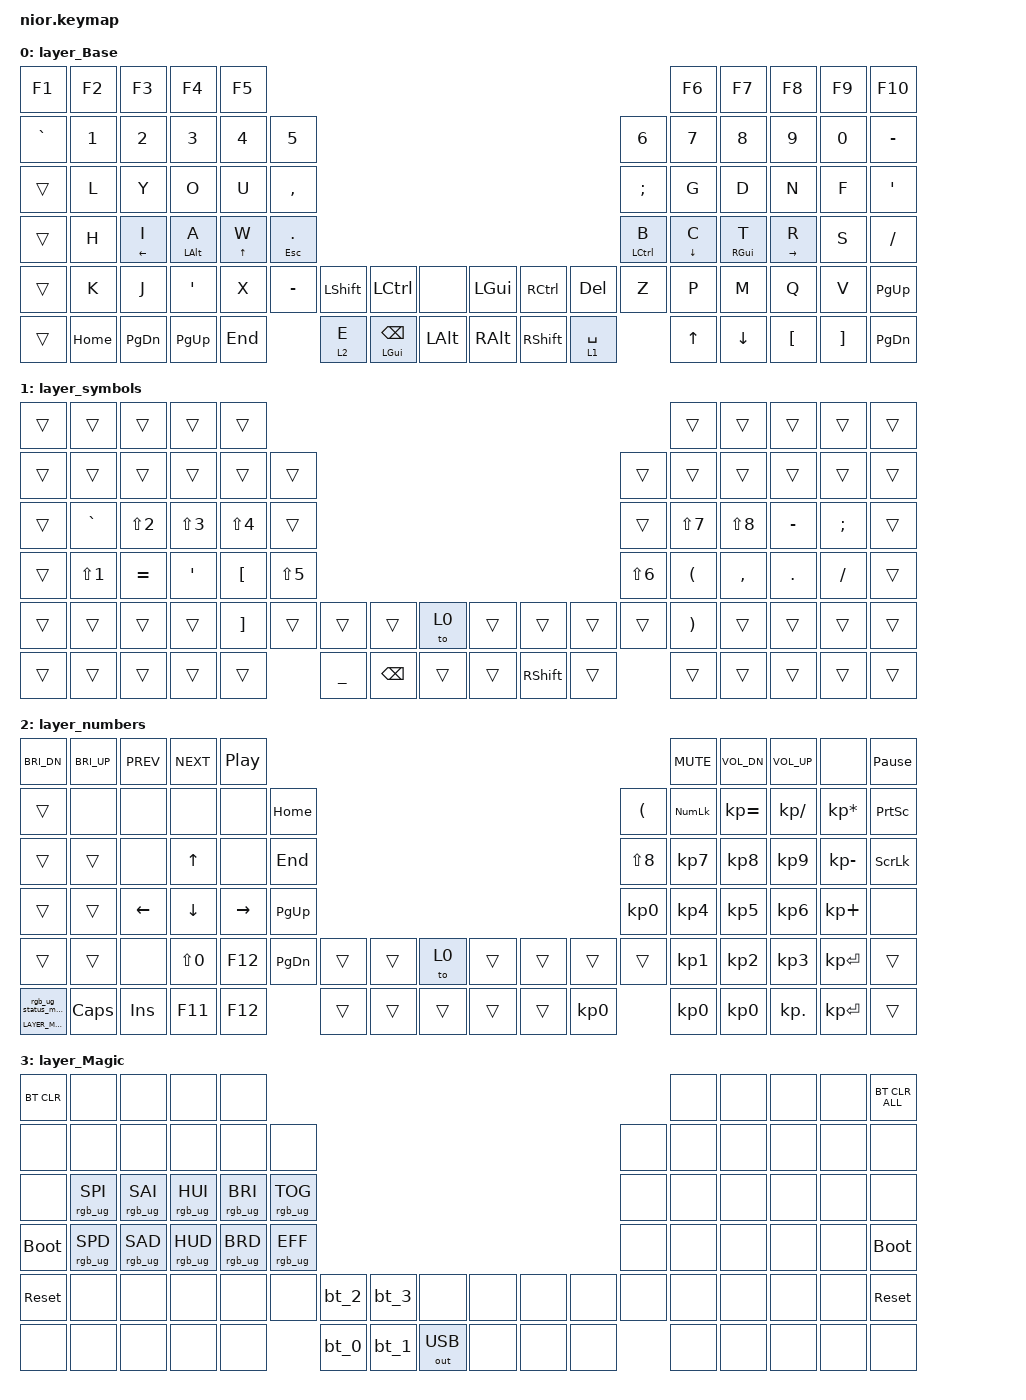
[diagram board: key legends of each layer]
/*
 * Copyright (c) 2020 The ZMK Contributors
 * Copyright (c) 2025 Innaworks Development Limited, trading as MoErgo
 *
 * SPDX-License-Identifier: MIT
 */
/* THIS FILE WAS GENERATED BY GLOVE80 LAYOUT EDITOR
 *
 * This file was generated automatically. You may or may not want to
 * edit it directly.
 */
/* Include all behavior includes needed */

#include <behaviors.dtsi>
#include <dt-bindings/zmk/bt.h>
#include <dt-bindings/zmk/keys.h>
#include <dt-bindings/zmk/outputs.h>
#include <dt-bindings/zmk/rgb.h>

/* On demand includes */
/* Automatically generated layer name #define */

#define LAYER_Base 0
#define LAYER_symbols 1
#define LAYER_numbers 2
#define LAYER_Magic 3

/* To deal with the situation where there is no Lower layer, to keep &lower happy */

#ifndef LAYER_Lower

#define LAYER_Lower 0

#endif

#define COMBO_TERM_FAST 18
#define COMBO_TERM_SLOW 30
#define COMBO_IDLE_FAST 150
#define COMBO_IDLE_SLOW 50
#define QUICK_TAP_MS 175

/* Custom Device-tree */
/* Urob's config */

&mt {
    flavor = "balanced";
    tapping-term-ms = <280>;
    quick-tap-ms = <175>;
    require-prior-idle-ms = <150>;
    bindings = <&kp>, <&kp>;

    hold-trigger-on-release;
};

&lt {
    flavor = "balanced";
    tapping-term-ms = <200>;
    quick-tap-ms = <QUICK_TAP_MS>;
};

&sk {
    release-after-ms = <900>;
    quick-release;
};

/* Input Listeners */
/* System behavior and Macros */

/ {
    behaviors {
        // For the "layer" key, it'd nice to be able to use it as either a shift or a toggle.
        // Configure it as a tap dance, so the first tap (or hold) is a &mo and the second tap is a &to

        lower: lower {
            compatible = "zmk,behavior-tap-dance";
            label = "LAYER_TAP_DANCE";
            #binding-cells = <0>;
            tapping-term-ms = <200>;
            bindings = <&mo LAYER_Lower>, <&to LAYER_Lower>;
        };
    };
};

/ {
    macros {
        rgb_ug_status_macro: rgb_ug_status_macro {
            label = "RGB_UG_STATUS";
            compatible = "zmk,behavior-macro";
            #binding-cells = <0>;
            bindings = <&rgb_ug RGB_STATUS>;
        };
    };
};

/ {
    #ifdef BT_DISC_CMD

    behaviors {
        bt_0: bt_0 {
            compatible = "zmk,behavior-tap-dance";
            label = "BT_0";
            #binding-cells = <0>;
            tapping-term-ms = <200>;
            bindings = <&bt_select_0>, <&bt BT_DISC 0>;
        };

        bt_1: bt_1 {
            compatible = "zmk,behavior-tap-dance";
            label = "BT_1";
            #binding-cells = <0>;
            tapping-term-ms = <200>;
            bindings = <&bt_select_1>, <&bt BT_DISC 1>;
        };

        bt_2: bt_2 {
            compatible = "zmk,behavior-tap-dance";
            label = "BT_2";
            #binding-cells = <0>;
            tapping-term-ms = <200>;
            bindings = <&bt_select_2>, <&bt BT_DISC 2>;
        };

        bt_3: bt_3 {
            compatible = "zmk,behavior-tap-dance";
            label = "BT_3";
            #binding-cells = <0>;
            tapping-term-ms = <200>;
            bindings = <&bt_select_3>, <&bt BT_DISC 3>;
        };
    };

    macros {
        bt_select_0: bt_select_0 {
            label = "BT_SELECT_0";
            compatible = "zmk,behavior-macro";
            #binding-cells = <0>;
            bindings = <&out OUT_BLE &bt BT_SEL 0>;
        };

        bt_select_1: bt_select_1 {
            label = "BT_SELECT_1";
            compatible = "zmk,behavior-macro";
            #binding-cells = <0>;
            bindings = <&out OUT_BLE &bt BT_SEL 1>;
        };

        bt_select_2: bt_select_2 {
            label = "BT_SELECT_2";
            compatible = "zmk,behavior-macro";
            #binding-cells = <0>;
            bindings = <&out OUT_BLE &bt BT_SEL 2>;
        };

        bt_select_3: bt_select_3 {
            label = "BT_SELECT_3";
            compatible = "zmk,behavior-macro";
            #binding-cells = <0>;
            bindings = <&out OUT_BLE &bt BT_SEL 3>;
        };
    };

    #else

    macros {
        bt_0: bt_0 {
            label = "BT_0";
            compatible = "zmk,behavior-macro";
            #binding-cells = <0>;
            bindings = <&out OUT_BLE &bt BT_SEL 0>;
        };

        bt_1: bt_1 {
            label = "BT_1";
            compatible = "zmk,behavior-macro";
            #binding-cells = <0>;
            bindings = <&out OUT_BLE &bt BT_SEL 1>;
        };

        bt_2: bt_2 {
            label = "BT_2";
            compatible = "zmk,behavior-macro";
            #binding-cells = <0>;
            bindings = <&out OUT_BLE &bt BT_SEL 2>;
        };

        bt_3: bt_3 {
            label = "BT_3";
            compatible = "zmk,behavior-macro";
            #binding-cells = <0>;
            bindings = <&out OUT_BLE &bt BT_SEL 3>;
        };
    };

    #endif
};

/ {
    behaviors {
        magic: magic {
            compatible = "zmk,behavior-hold-tap";
            label = "MAGIC_HOLD_TAP";
            #binding-cells = <2>;
            flavor = "tap-preferred";
            tapping-term-ms = <200>;
            bindings = <&mo>, <&rgb_ug_status_macro>;
        };
    };
};

/* #define for key positions */

#define POS_LH_T1 52
#define POS_LH_T2 53
#define POS_LH_T3 54
#define POS_LH_T4 69
#define POS_LH_T5 70
#define POS_LH_T6 71
#define POS_LH_C1R2 15
#define POS_LH_C1R3 27
#define POS_LH_C1R4 39
#define POS_LH_C1R5 51
#define POS_LH_C2R1 4
#define POS_LH_C2R2 14
#define POS_LH_C2R3 26
#define POS_LH_C2R4 38
#define POS_LH_C2R5 50
#define POS_LH_C2R6 68
#define POS_LH_C3R1 3
#define POS_LH_C3R2 13
#define POS_LH_C3R3 25
#define POS_LH_C3R4 37
#define POS_LH_C3R5 49
#define POS_LH_C3R6 67
#define POS_LH_C4R1 2
#define POS_LH_C4R2 12
#define POS_LH_C4R3 24
#define POS_LH_C4R4 36
#define POS_LH_C4R5 48
#define POS_LH_C4R6 66
#define POS_LH_C5R1 1
#define POS_LH_C5R2 11
#define POS_LH_C5R3 23
#define POS_LH_C5R4 35
#define POS_LH_C5R5 47
#define POS_LH_C5R6 65
#define POS_LH_C6R1 0
#define POS_LH_C6R2 10
#define POS_LH_C6R3 22
#define POS_LH_C6R4 34
#define POS_LH_C6R5 46
#define POS_LH_C6R6 64
#define POS_RH_T1 57
#define POS_RH_T2 56
#define POS_RH_T3 55
#define POS_RH_T4 74
#define POS_RH_T5 73
#define POS_RH_T6 72
#define POS_RH_C1R2 16
#define POS_RH_C1R3 28
#define POS_RH_C1R4 40
#define POS_RH_C1R5 58
#define POS_RH_C2R1 5
#define POS_RH_C2R2 17
#define POS_RH_C2R3 29
#define POS_RH_C2R4 41
#define POS_RH_C2R5 59
#define POS_RH_C2R6 75
#define POS_RH_C3R1 6
#define POS_RH_C3R2 18
#define POS_RH_C3R3 30
#define POS_RH_C3R4 42
#define POS_RH_C3R5 60
#define POS_RH_C3R6 76
#define POS_RH_C4R1 7
#define POS_RH_C4R2 19
#define POS_RH_C4R3 31
#define POS_RH_C4R4 43
#define POS_RH_C4R5 61
#define POS_RH_C4R6 77
#define POS_RH_C5R1 8
#define POS_RH_C5R2 20
#define POS_RH_C5R3 32
#define POS_RH_C5R4 44
#define POS_RH_C5R5 62
#define POS_RH_C5R6 78
#define POS_RH_C6R1 9
#define POS_RH_C6R2 21
#define POS_RH_C6R3 33
#define POS_RH_C6R4 45
#define POS_RH_C6R5 63
#define POS_RH_C6R6 79

/* Custom Defined Behaviors */

/ {
};

/* Automatically generated macro definitions */

/ {
    macros {
    };
};

/* Automatically generated behavior definitions */

/ {
    behaviors {
    };
};

/* Automatically generated combos definitions */

/ {
    combos {
        compatible = "zmk,combos";

        combo_Enter {
            key-positions = <69 74>;
            bindings = <&kp RET>;
            flavor = "balanced";
            tapping-term-ms = <280>;
            quick-tap-ms = <QUICK_TAP_MS>;
            require-prior-idle-ms = <150>;
            hold-trigger-on-release;
            hold-trigger-key-positions = <TRIGGER_POS>;
        };

        combo_Tab {
            key-positions = <70 74>;
            bindings = <&kp TAB>;
        };
    };
};

/* Automatically generated keymap */

/ {
    keymap {
        compatible = "zmk,keymap";

        layer_Base {
            bindings = <
&kp F1     &kp F2    &kp F3      &kp F4      &kp F5                                                                                                         &kp F6      &kp F7      &kp F8       &kp F9    &kp F10
&kp GRAVE  &kp N1    &kp N2      &kp N3      &kp N4    &kp N5                                                                                &kp N6         &kp N7      &kp N8      &kp N9       &kp N0    &kp MINUS
&trans     &kp L     &kp Y       &kp O       &kp U     &kp COMMA                                                                             &kp SEMICOLON  &kp G       &kp D       &kp N        &kp F     &kp SQT
&trans     &kp H     &mt LEFT I  &mt LALT A  &mt UP W  &mt ESC PERIOD                                                                        &mt LCTRL B    &mt DOWN C  &mt RGUI T  &mt RIGHT R  &kp S     &kp SLASH
&trans     &kp K     &kp J       &kp SQT     &kp X     &kp MINUS       &kp LSHFT  &kp LCTRL      &none     &kp LGUI  &kp RCTRL  &kp DEL      &kp Z          &kp P       &kp M       &kp Q        &kp V     &kp PG_UP
&trans     &kp HOME  &kp PG_DN   &kp PG_UP   &kp END                   &lt 2 E    &mt LGUI BSPC  &kp LALT  &kp RALT  &kp RSHFT  &lt 1 SPACE                 &kp UP      &kp DOWN    &kp LBKT     &kp RBKT  &kp PG_DN
            >;
        };

        layer_symbols {
            bindings = <
&trans  &trans      &trans      &trans      &trans                                                                                      &trans      &trans      &trans     &trans    &trans
&trans  &trans      &trans      &trans      &trans      &trans                                                              &trans      &trans      &trans      &trans     &trans    &trans
&trans  &kp GRAVE   &kp LS(N2)  &kp LS(N3)  &kp LS(N4)  &trans                                                              &trans      &kp LS(N7)  &kp LS(N8)  &kp MINUS  &kp SEMI  &trans
&trans  &kp LS(N1)  &kp EQUAL   &kp SQT     &kp LBKT    &kp LS(N5)                                                          &kp LS(N6)  &kp LPAR    &kp COMMA   &kp DOT    &kp FSLH  &trans
&trans  &trans      &trans      &trans      &kp RBKT    &trans      &trans     &trans    &to 0   &trans  &trans     &trans  &trans      &kp RPAR    &trans      &trans     &trans    &trans
&trans  &trans      &trans      &trans      &trans                  &kp UNDER  &kp BSPC  &trans  &trans  &kp RSHFT  &trans              &trans      &trans      &trans     &trans    &trans
            >;
        };

        layer_numbers {
            bindings = <
&kp C_BRI_DN          &kp C_BRI_UP  &kp C_PREV      &kp C_NEXT    &kp C_PP                                                                                             &kp C_MUTE  &kp C_VOL_DN  &kp C_VOL_UP  &none            &kp PAUSE_BREAK
&trans                &none         &none           &none         &none            &kp HOME                                                      &kp LEFT_PARENTHESIS  &kp KP_NUM  &kp KP_EQUAL  &kp KP_SLASH  &kp KP_MULTIPLY  &kp PRINTSCREEN
&trans                &trans        &none           &kp UP_ARROW  &none            &kp END                                                       &kp LS(N8)            &kp KP_N7   &kp KP_N8     &kp KP_N9     &kp KP_MINUS     &kp SCROLLLOCK
&trans                &trans        &kp LEFT_ARROW  &kp DOWN      &kp RIGHT_ARROW  &kp PG_UP                                                     &kp KP_N0             &kp KP_N4   &kp KP_N5     &kp KP_N6     &kp KP_PLUS      &none
&trans                &trans        &none           &kp LS(N0)    &kp F12          &kp PG_DN  &trans  &trans  &to 0   &trans  &trans  &trans     &trans                &kp KP_N1   &kp KP_N2     &kp KP_N3     &kp KP_ENTER     &trans
&magic LAYER_Magic 0  &kp CAPS      &kp INS         &kp F11       &kp F12                     &trans  &trans  &trans  &trans  &trans  &kp KP_N0                        &kp KP_N0   &kp KP_N0     &kp KP_DOT    &kp KP_ENTER     &trans
            >;
        };

        layer_Magic {
            bindings = <
&bt BT_CLR   &none            &none            &none            &none                                                                                     &none  &none  &none  &none  &bt BT_CLR_ALL
&none        &none            &none            &none            &none            &none                                                             &none  &none  &none  &none  &none  &none
&none        &rgb_ug RGB_SPI  &rgb_ug RGB_SAI  &rgb_ug RGB_HUI  &rgb_ug RGB_BRI  &rgb_ug RGB_TOG                                                   &none  &none  &none  &none  &none  &none
&bootloader  &rgb_ug RGB_SPD  &rgb_ug RGB_SAD  &rgb_ug RGB_HUD  &rgb_ug RGB_BRD  &rgb_ug RGB_EFF                                                   &none  &none  &none  &none  &none  &bootloader
&sys_reset   &none            &none            &none            &none            &none            &bt_2  &bt_3  &none         &none  &none  &none  &none  &none  &none  &none  &none  &sys_reset
&none        &none            &none            &none            &none                             &bt_0  &bt_1  &out OUT_USB  &none  &none  &none         &none  &none  &none  &none  &none
            >;
        };
    };
};
